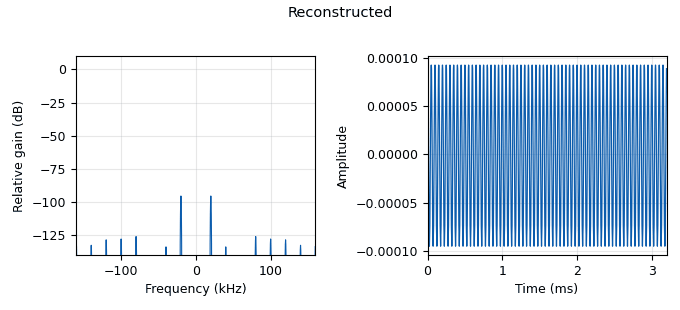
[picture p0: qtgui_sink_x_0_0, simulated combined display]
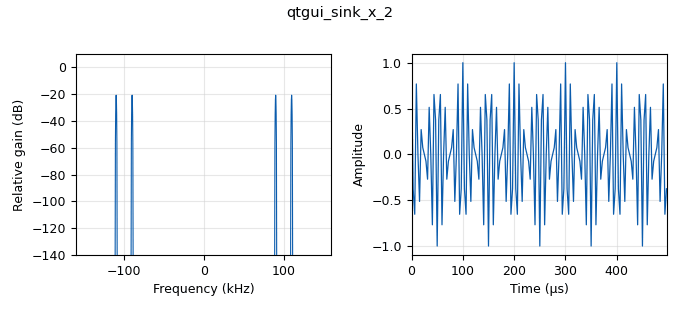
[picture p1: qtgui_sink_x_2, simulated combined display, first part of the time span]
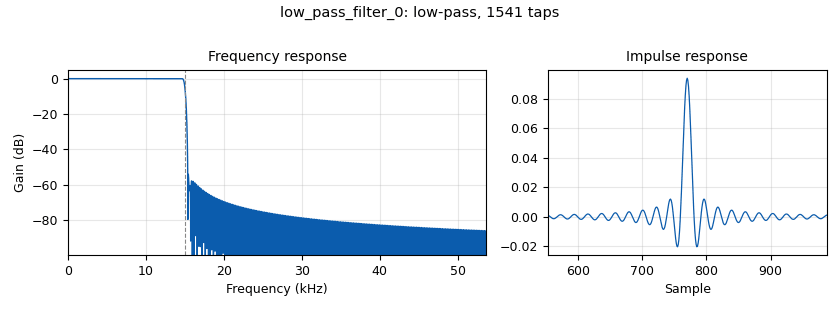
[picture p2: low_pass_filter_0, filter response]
options:
  parameters:
    generate_options: qt_gui
    id: Lab2_1
    output_language: python
    title: AMmodulator
  states: {}

blocks:
- name: dc
  id: variable_qtgui_range
  parameters:
    start: '0'
    step: '0.2'
    stop: '5'
    value: '0'
  states: {}
- name: samp_rate
  id: variable
  parameters:
    value: 320e3
  states: {}
- name: analog_const_source_x_0
  id: analog_const_source_x
  parameters:
    const: '0.5'
    type: float
  states: {state: disabled}
- name: analog_const_source_x_0_0
  id: analog_const_source_x
  parameters:
    const: '1'
    type: float
  states: {state: disabled}
- name: analog_sig_source_x_0
  id: analog_sig_source_x
  parameters:
    amp: '1'
    freq: 1e4
    offset: '0'
    phase: '0'
    samp_rate: samp_rate
    type: float
    waveform: analog.GR_COS_WAVE
  states: {}
- name: analog_sig_source_x_0_0
  id: analog_sig_source_x
  parameters:
    amp: '1'
    freq: 1e5
    offset: '0'
    phase: '0'
    samp_rate: 320e3
    type: float
    waveform: analog.GR_COS_WAVE
  states: {}
- name: blocks_abs_xx_0_0
  id: blocks_abs_xx
  parameters:
    type: float
  states: {}
- name: blocks_add_const_vxx_0
  id: blocks_add_const_vxx
  parameters:
    const: dc
    type: float
  states: {}
- name: blocks_multiply_xx_0_0
  id: blocks_multiply_xx
  parameters:
    type: float
  states: {}
- name: dc_blocker_xx_0
  id: dc_blocker_xx
  parameters:
    length: '32'
    long_form: 'True'
    type: ff
  states: {}
- name: low_pass_filter_0
  id: low_pass_filter
  parameters:
    cutoff_freq: 15e3
    decim: '1'
    gain: '1'
    samp_rate: samp_rate
    type: fir_filter_fff
    width: '500'
    win: window.WIN_HAMMING
  states: {}
- name: qtgui_sink_x_0
  id: qtgui_sink_x
  parameters:
    bw: 320e3
    fc: '0'
    fftsize: '1024'
    gui_hint: tab@1
    name: modulated
    type: float
  states: {state: disabled}
- name: qtgui_sink_x_0_0
  id: qtgui_sink_x
  parameters:
    bw: 320e3
    fc: '0'
    fftsize: '1024'
    gui_hint: tab@1
    name: '"Reconstructed"'
    type: float
  states: {}
- name: qtgui_sink_x_1
  id: qtgui_sink_x
  parameters:
    bw: samp_rate
    fc: '0'
    fftsize: '1024'
    type: float
  states: {state: disabled}
- name: qtgui_sink_x_2
  id: qtgui_sink_x
  parameters:
    bw: samp_rate
    fc: '0'
    fftsize: '1024'
    gui_hint: tab@0
    type: float
  states: {}
- name: tab
  id: qtgui_tab_widget
  parameters:
    label0: Modulated
    label1: Demodulated
    label2: Tab 2
    num_tabs: '3'
  states: {}

connections:
- [analog_sig_source_x_0, '0', blocks_add_const_vxx_0, '0']
- [analog_sig_source_x_0_0, '0', blocks_multiply_xx_0_0, '1']
- [blocks_abs_xx_0_0, '0', dc_blocker_xx_0, '0']
- [blocks_add_const_vxx_0, '0', blocks_multiply_xx_0_0, '0']
- [blocks_multiply_xx_0_0, '0', blocks_abs_xx_0_0, '0']
- [blocks_multiply_xx_0_0, '0', qtgui_sink_x_0, '0']
- [blocks_multiply_xx_0_0, '0', qtgui_sink_x_2, '0']
- [dc_blocker_xx_0, '0', low_pass_filter_0, '0']
- [low_pass_filter_0, '0', qtgui_sink_x_0_0, '0']

metadata:
  file_format: 1
  grc_version: 3.10.7.0
